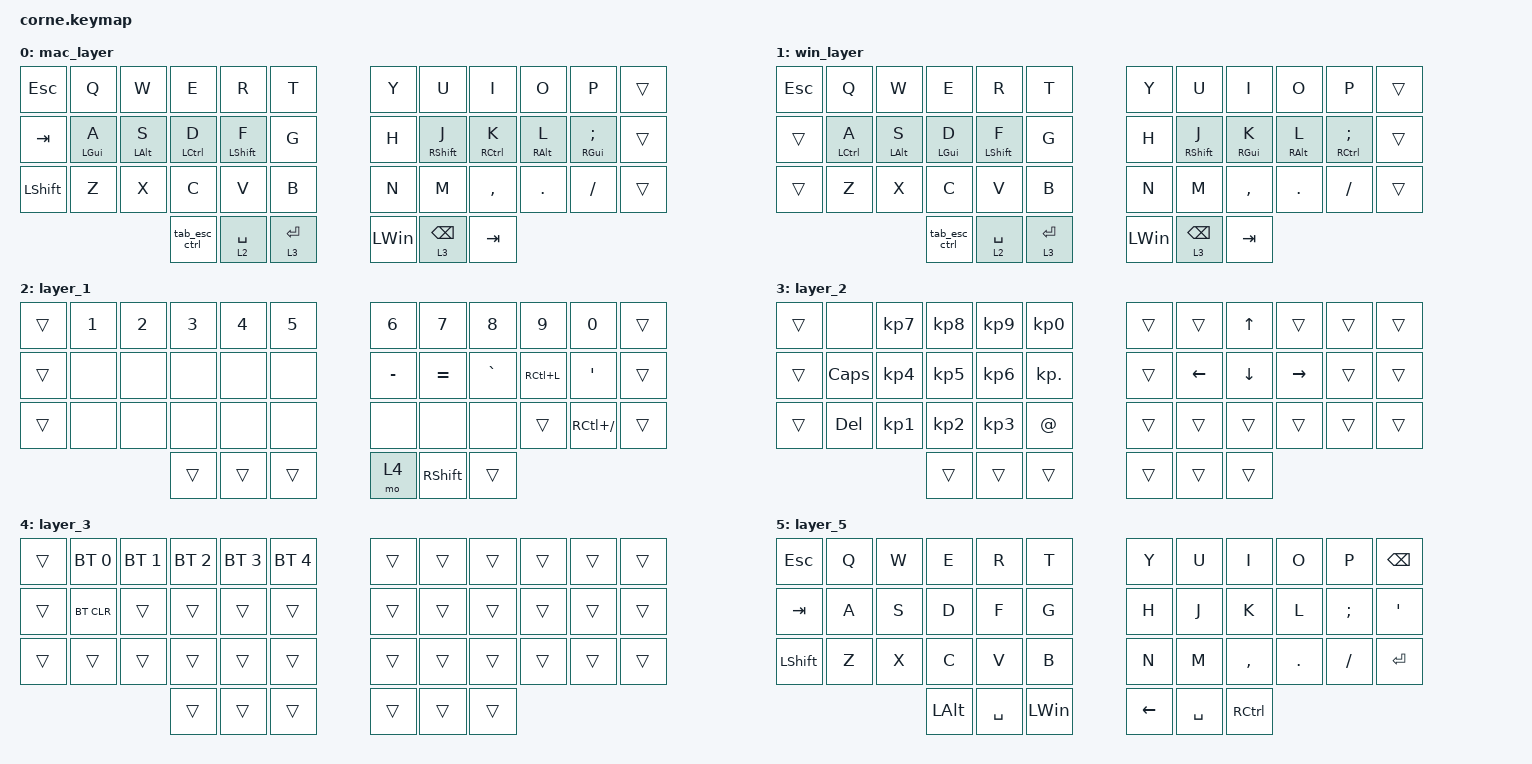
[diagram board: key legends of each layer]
/*
 * Copyright (c) 2020 The ZMK Contributors
 *
 * SPDX-License-Identifier: MIT
 */

#include <behaviors.dtsi>
#include <dt-bindings/zmk/bt.h>
#include <dt-bindings/zmk/keys.h>

/ {
    combos {
        compatible = "zmk,combos";

        combo1 {
            bindings = <&kp LBKT>;
            key-positions = <3 4>;
        };

        combo2 {
            bindings = <&kp RBKT>;
            key-positions = <7 8>;
        };

        combo3 {
            bindings = <&kp LEFT_PARENTHESIS>;
            key-positions = <15 16>;
        };

        combo4 {
            bindings = <&kp RIGHT_PARENTHESIS>;
            key-positions = <19 20>;
        };

        combo5 {
            bindings = <&kp LEFT_BRACE>;
            key-positions = <27 28>;
        };

        combo6 {
            bindings = <&kp RIGHT_BRACE>;
            key-positions = <31 32>;
        };

        combo7 {
            bindings = <&kp BACKSLASH>;
            key-positions = <5 6>;
        };

        combo8 {
            bindings = <&kp PIPE>;
            key-positions = <17 18>;
        };

        combo9 {
            bindings = <&to 0>;
            key-positions = <1 10>;
        };

        combo10 {
            bindings = <&to 1>;
            key-positions = <2 9>;
        };
    };

    behaviors {
        tab_esc_ctrl: tab_esc_ctrl {
            compatible = "zmk,behavior-tap-dance";
            label = "TAB_ESC_CTRL";
            #binding-cells = <0>;
            bindings = <&mt LCTRL ESC>, <&kp TAB>;
        };

        gqt: global-quick-tap {
            compatible = "zmk,behavior-hold-tap";
            label = "GLOBAL_QUICK_TAP";
            bindings = <&kp>, <&kp>;

            #binding-cells = <2>;
            tapping-term-ms = <300>;
            quick-tap-ms = <180>;
            global-quick-tap;
            flavor = "tap-preferred";
        };

        ltq: ltq {
            compatible = "zmk,behavior-hold-tap";
            label = "LTQ";
            bindings = <&mo>, <&kp>;

            #binding-cells = <2>;
            tapping-term-ms = <200>;
            quick-tap-ms = <180>;
            global-quick-tap;
        };
    };

    keymap {
        compatible = "zmk,keymap";

        mac_layer {
            bindings = <
&kp ESC         &kp Q            &kp W            &kp E          &kp R          &kp T          &kp Y         &kp U          &kp I         &kp O             &kp P           &trans
&kp TAB         &gqt LEFT_GUI A  &gqt LEFT_ALT S  &gqt LCTRL D   &gqt LSHIFT F  &kp G          &kp H         &gqt RSHIFT J  &gqt RCTRL K  &gqt RIGHT_ALT L  &gqt RGUI SEMI  &trans
&kp LEFT_SHIFT  &kp Z            &kp X            &kp C          &kp V          &kp B          &kp N         &kp M          &kp COMMA     &kp DOT           &kp FSLH        &trans
                                                  &tab_esc_ctrl  &lt 2 SPACE    &lt 3 ENTER    &kp LEFT_WIN  &ltq 3 BSPC    &kp TAB
            >;
        };

        win_layer {
            bindings = <
&kp ESC  &kp Q         &kp W            &kp E            &kp R          &kp T          &kp Y         &kp U          &kp I        &kp O             &kp P            &trans
&trans   &gqt LCTRL A  &gqt LEFT_ALT S  &gqt LEFT_GUI D  &gqt LSHIFT F  &kp G          &kp H         &gqt RSHIFT J  &gqt RGUI K  &gqt RIGHT_ALT L  &gqt RCTRL SEMI  &trans
&trans   &kp Z         &kp X            &kp C            &kp V          &kp B          &kp N         &kp M          &kp COMMA    &kp DOT           &kp FSLH         &trans
                                        &tab_esc_ctrl    &lt 2 SPACE    &lt 3 ENTER    &kp LEFT_WIN  &ltq 3 BSPC    &kp TAB
            >;
        };

        layer_1 {
            bindings = <
&trans  &kp NUMBER_1  &kp NUMBER_2  &kp NUMBER_3  &kp NUMBER_4  &kp NUMBER_5    &kp NUMBER_6  &kp NUMBER_7  &kp NUMBER_8  &kp NUMBER_9  &kp NUMBER_0   &trans
&trans  &none         &none         &none         &none         &none           &kp MINUS     &kp EQUAL     &kp GRAVE     &kp RC(L)     &kp SQT        &trans
&trans  &none         &none         &none         &none         &none           &none         &none         &none         &trans        &kp RC(SLASH)  &trans
                                    &trans        &trans        &trans          &mo 4         &kp RSHIFT    &trans
            >;
        };

        layer_2 {
            bindings = <
&trans  &none     &kp KP_NUMBER_7  &kp KP_NUMBER_8  &kp KP_NUMBER_9  &kp KP_NUMBER_0    &trans  &trans    &kp UP    &trans     &trans  &trans
&trans  &kp CAPS  &kp KP_NUMBER_4  &kp KP_NUMBER_5  &kp KP_NUMBER_6  &kp KP_DOT         &trans  &kp LEFT  &kp DOWN  &kp RIGHT  &trans  &trans
&trans  &kp DEL   &kp KP_NUMBER_1  &kp KP_NUMBER_2  &kp KP_NUMBER_3  &kp AT_SIGN        &trans  &trans    &trans    &trans     &trans  &trans
                                   &trans           &trans           &trans             &trans  &trans    &trans
            >;
        };

        layer_3 {
            bindings = <
&trans  &bt BT_SEL 0  &bt BT_SEL 1  &bt BT_SEL 2  &bt BT_SEL 3  &bt BT_SEL 4    &trans  &trans  &trans  &trans  &trans  &trans
&trans  &bt BT_CLR    &trans        &trans        &trans        &trans          &trans  &trans  &trans  &trans  &trans  &trans
&trans  &trans        &trans        &trans        &trans        &trans          &trans  &trans  &trans  &trans  &trans  &trans
                                    &trans        &trans        &trans          &trans  &trans  &trans
            >;
        };

        layer_5 {
            bindings = <
&kp ESC         &kp Q  &kp W  &kp E         &kp R      &kp T           &kp Y     &kp U      &kp I      &kp O       &kp P          &kp BACKSPACE
&kp TAB         &kp A  &kp S  &kp D         &kp F      &kp G           &kp H     &kp J      &kp K      &kp L       &kp SEMICOLON  &kp SQT
&kp LEFT_SHIFT  &kp Z  &kp X  &kp C         &kp V      &kp B           &kp N     &kp M      &kp COMMA  &kp PERIOD  &kp SLASH      &kp ENTER
                              &kp LEFT_ALT  &kp SPACE  &kp LEFT_WIN    &kp LEFT  &kp SPACE  &kp RCTRL
            >;
        };
    };
};
